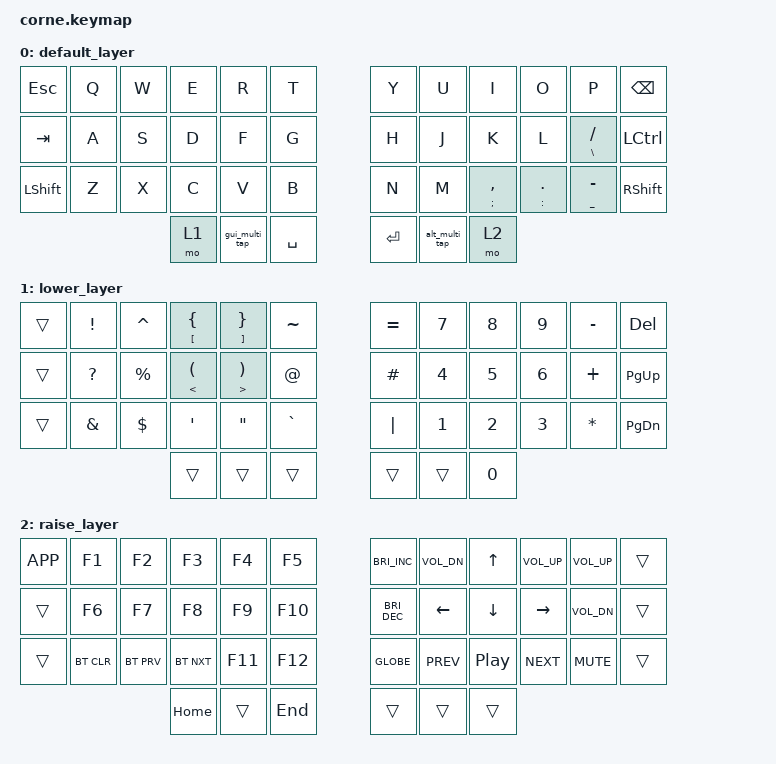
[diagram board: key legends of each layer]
/*
 * Copyright (c) 2020 The ZMK Contributors
 *
 * SPDX-License-Identifier: MIT
 */

#include <behaviors.dtsi>
#include <dt-bindings/zmk/bt.h>
#include <dt-bindings/zmk/keys.h>

/ {
    behaviors {
        gui_multi_tap: gui_multi_tap {
            compatible = "zmk,behavior-tap-dance";
            label = "GUI_MULTI_TAP";
            #binding-cells = <0>;
            bindings = <&kp LGUI>, <&kp LCTRL>, <&kp LG(LALT)>;

            tapping-term-ms = <300>;
        };

        alt_multi_tap: alt_multi_tap {
            compatible = "zmk,behavior-tap-dance";
            label = "ALT_MULTI_TAP";
            #binding-cells = <0>;
            bindings = <&kp LALT>, <&kp RALT>, <&kp LG(LALT)>;

            tapping-term-ms = <300>;
        };
    };

    keymap {
        compatible = "zmk,keymap";

        default_layer {
            // -----------------------------------------------------------------------------------------
            // |  TAB |  Q  |  W  |  E  |  R  |  T  |   |  Y  |  U   |  I  |  O  |  P  | BSPC |
            // | CTRL |  A  |  S  |  D  |  F  |  G  |   |  H  |  J   |  K  |  L  |  ;  |  '   |
            // | SHFT |  Z  |  X  |  C  |  V  |  B  |   |  N  |  M   |  ,  |  .  |  /  | ESC  |
            //                    | GUI | LWR | SPC |   | ENT | RSE  | ALT |

            bindings = <
&kp ESC     &kp Q  &kp W  &kp E  &kp R           &kp T        &kp Y    &kp U           &kp I                &kp O          &kp P                 &kp BSPC
&kp TAB     &kp A  &kp S  &kp D  &kp F           &kp G        &kp H    &kp J           &kp K                &kp L          &mt BSLH FSLH         &kp LEFT_CONTROL
&kp LSHIFT  &kp Z  &kp X  &kp C  &kp V           &kp B        &kp N    &kp M           &mt SEMICOLON COMMA  &mt COLON DOT  &mt UNDERSCORE MINUS  &kp RSHIFT
                          &mo 1  &gui_multi_tap  &kp SPACE    &kp RET  &alt_multi_tap  &mo 2
            >;
        };

        lower_layer {
            // -----------------------------------------------------------------------------------------
            // |  TAB |  1  |  2  |  3  |  4  |  5  |   |  6  |  7  |  8  |  9  |  0  | BSPC |
            // | BTCLR| BT1 | BT2 | BT3 | BT4 | BT5 |   | LFT | DWN |  UP | RGT |     |      |
            // | SHFT |     |     |     |     |     |   |     |     |     |     |     |      |
            //                    | GUI |     | SPC |   | ENT |     | ALT |

            bindings = <
&trans  &kp EXCL   &kp CARET    &mt LBKT LBRC  &mt RBKT RBRC  &kp TILDE    &kp EQUAL  &kp NUMBER_7  &kp NUMBER_8  &kp NUMBER_9  &kp MINUS  &kp DEL
&trans  &kp QMARK  &kp PERCENT  &mt LT LPAR    &mt GT RPAR    &kp AT       &kp HASH   &kp NUMBER_4  &kp NUMBER_5  &kp NUMBER_6  &kp PLUS   &kp PAGE_UP
&trans  &kp AMPS   &kp DLLR     &kp SQT        &kp DQT        &kp GRAVE    &kp PIPE   &kp NUMBER_1  &kp NUMBER_2  &kp NUMBER_3  &kp ASTRK  &kp PAGE_DOWN
                                &trans         &trans         &trans       &trans     &trans        &kp NUMBER_0
            >;
        };

        raise_layer {
            // -----------------------------------------------------------------------------------------
            // |  TAB |  !  |  @  |  #  |  $  |  %  |   |  ^  |  &  |  *  |  (  |  )  | BSPC |
            // | CTRL |     |     |     |     |     |   |  -  |  =  |  [  |  ]  |  \  |  `   |
            // | SHFT |     |     |     |     |     |   |  _  |  +  |  {  |  }  | "|" |  ~   |
            //                    | GUI |     | SPC |   | ENT |     | ALT |

            bindings = <
&kp K_APP  &kp F1      &kp F2      &kp F3      &kp F4   &kp F5     &kp C_BRIGHTNESS_INC  &kp C_VOL_DN  &kp UP            &kp C_VOL_UP  &kp C_VOL_UP  &trans
&trans     &kp F6      &kp F7      &kp F8      &kp F9   &kp F10    &kp C_BRIGHTNESS_DEC  &kp LEFT      &kp DOWN          &kp RIGHT     &kp C_VOL_DN  &trans
&trans     &bt BT_CLR  &bt BT_PRV  &bt BT_NXT  &kp F11  &kp F12    &kp GLOBE             &kp C_PREV    &kp C_PLAY_PAUSE  &kp C_NEXT    &kp K_MUTE    &trans
                                   &kp HOME    &trans   &kp END    &trans                &trans        &trans
            >;
        };
    };
};
